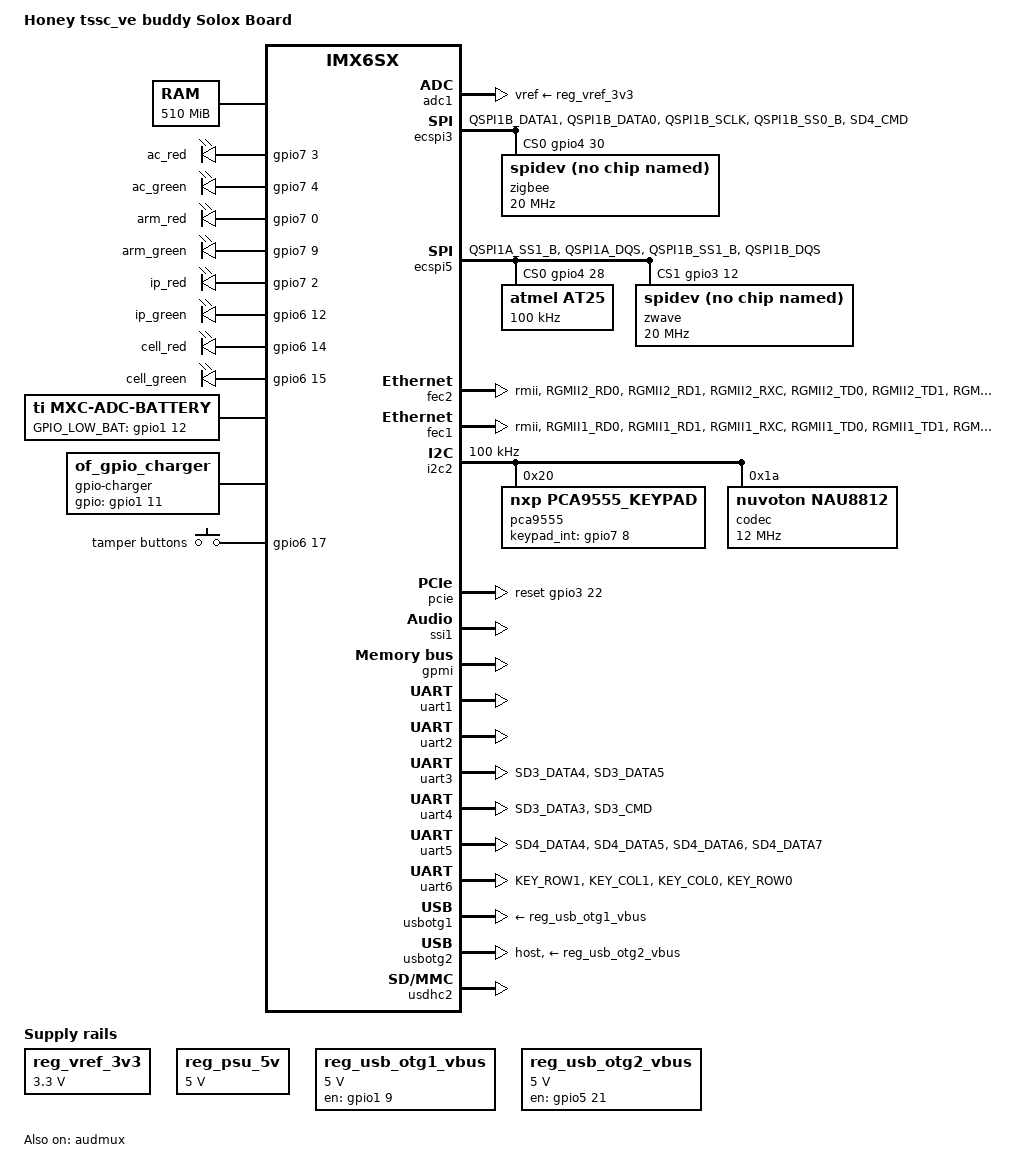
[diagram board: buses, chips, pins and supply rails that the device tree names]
/*
 * Copyright (C) 2014 Freescale Semiconductor, Inc.
 *
 * This program is free software; you can redistribute it and/or modify
 * it under the terms of the GNU General Public License version 2 as
 * published by the Free Software Foundation.
 */

/dts-v1/;

#include <dt-bindings/gpio/gpio.h>
#include "imx6sx.dtsi"

/ {
	model = "Honey tssc_ve buddy Solox Board";
	compatible = "fsl,imx6sx-sdb", "fsl,imx6sx";
	
	memory {
		reg = <0x80000000 0x1FE00000>;
	};

    leds {
        compatible = "gpio-leds";

        ac-red {
            label = "ac_red";
            gpios = <&gpio7 3 0>;
        };

        ac-green {
            label = "ac_green";
            gpios = <&gpio7 4 0>;
        };

        arm-red {
            label = "arm_red";
            gpios = <&gpio7 0 0>;
        };

        arm-green {
            label = "arm_green";
            gpios = <&gpio7 9 0>;
        };

        ip-red {
            label = "ip_red";
            gpios = <&gpio7 2 0>;
        };

        ip-green {
            label = "ip_green";
            gpios = <&gpio6 12 0>;
        };

        cell-red {
            label = "cell_red";
            gpios = <&gpio6 14 0>;
        };

        cell-green {
            label = "cell_green";
            gpios = <&gpio6 15 0>;
        };
    
    };

	regulators {
		compatible = "simple-bus";

		reg_vref_3v3: regulator@0 {
			compatible = "regulator-fixed";
			regulator-name = "vref-3v3";
			regulator-min-microvolt = <3300000>;
			regulator-max-microvolt = <3300000>;
		};

		reg_psu_5v: psu_5v0 {
			compatible = "regulator-fixed";
			regulator-name = "PSU-5V0";
			regulator-min-microvolt = <5000000>;
			regulator-max-microvolt = <5000000>;
			regulator-boot-on;
		};

		reg_usb_otg1_vbus: usb_otg1_vbus {
			compatible = "regulator-fixed";
			regulator-name = "usb_otg1_vbus";
			regulator-min-microvolt = <5000000>;
			regulator-max-microvolt = <5000000>;
			gpio = <&gpio1 9 0>;
			enable-active-high;
		};
		
        reg_usb_otg2_vbus: usb_otg2_vbus {
			compatible = "regulator-fixed";
			regulator-name = "usb_otg2_vbus";
			regulator-min-microvolt = <5000000>;
			regulator-max-microvolt = <5000000>;
            gpio = <&gpio5 21 0>;
			enable-active-high;
		};

	};

		vgen4_reg: vgen4 {
			regulator-min-microvolt = <1800000>;
			regulator-max-microvolt = <3300000>;
			regulator-always-on;
		};
		vgen3_reg: vgen3 {
			regulator-min-microvolt = <1800000>;
			regulator-max-microvolt = <3300000>;
			regulator-always-on;
		};

    sound {
        compatible = "fsl,imx-audio-nau8812";
        model = "nau8812-audio";
        ssi-controller = <&ssi1>;
        audio-codec = <&codec>;
        audio-routing =
            "MIC_IN", "Mic Jack",
            "Mic Jack", "Mic Bias",
            "Headphone Jack", "HP_OUT";
        mux-int-port = <1>;
        mux-ext-port = <3>;
    };
/*
	sound {
		compatible = "fsl,imx6q-sabresd-wm8962",
			   "fsl,imx-audio-wm8962";
		model = "wm8962-audio";
		cpu-dai = <&ssi2>;
		audio-codec = <&codec>;
		audio-routing =
			"Headphone Jack", "HPOUTL",
			"Headphone Jack", "HPOUTR",
			"Ext Spk", "SPKOUTL",
			"Ext Spk", "SPKOUTR",
			"AMIC", "MICBIAS",
			"IN3R", "AMIC";
		mux-int-port = <2>;
		mux-ext-port = <6>;
		hp-det-gpios = <&gpio1 17 1>;
	};

	sound-spdif {
		compatible = "fsl,imx-audio-spdif",
			   "fsl,imx6sx-sdb-spdif";
		model = "imx-spdif";
		spdif-controller = <&spdif>;
		spdif-out;
	};

*/
    mxc-adc-battery{
		compatible = "ti,mxc-adc-battery";
        GPIO_LOW_BAT = <&gpio1 12 0>;
        enable_over_temp = <0>;
        low_bat_active_low = <1>;
        wakeup = <0>;
        debounce_interval = <500>;
        adc_id = <1>;
        adc_ch = <0>;
        volt_mult = <500000>;
        status = "okay";
     };

    gpio-charger {
        compatible = "of_gpio_charger";
        gpio = <&gpio1 11 0>;
        gpio_active_low = <1>;
        charger_name = "AC";
        debounce_interval = <10000>;
        wakeup = <1>;
        status = "okay";
    };

    gpio-key {
        compatible = "gpio-keys";
        tamper {
            label = "tamper buttons";
            gpios = <&gpio6 17 0>;
            linux,code = <103>;
            gpio-key,wakeup;
            debounce_interval = <500>;
        };
    };
};

&adc1 {
	vref-supply = <&reg_vref_3v3>;
    adc_dev_id = <1>;
    status = "okay";
};

&ecspi3{
	fsl,spi-num-chipselects = <2>;
	cs-gpios = <&gpio4 30 0>,
            <&gpio6 13 0>;

    bus-id = <3>;
    pinctrl-names = "default";
	pinctrl-0 = <&pinctrl_ecspi3_1 &pinctrl_ecspi3_cs_1>;
    status = "okay";



    zigbee: zigbee@0x0{
    
		compatible = "rohm,dh2228fv";
		bus-num = <3>;
//chip-select = <0>;
        spi-max-frequency = <20000000>;
		reg = <0>;
    };

};

&ecspi5{
	fsl,spi-num-chipselects = <2>;
	cs-gpios = <&gpio4 28 0>,<&gpio3 12 0>;  
    bus-id = <1>;

    pinctrl-names = "default";
	pinctrl-0 = <&pinctrl_ecspi5_1 &pinctrl_ecspi5_cs_1>;
    status = "okay";
    
at25: at25@0 {
        compatible = "atmel,at25", "st,m95256";
        spi-max-frequency = <100000>;
        //spi-cpha;
        //spi-cpol;
		reg = <0>;
        pagesize = <64>;
        size = <32768>;
        address-width = <16>;
    };
    zwave: zwave@1{
		compatible = "rohm,dh2228fv";
		bus-num = <1>;
        spi-max-frequency = <20000000>;
		reg = <1>;
    };

};


&audmux {
	pinctrl-names = "default";
	pinctrl-0 = <&pinctrl_audmux_4>;
	status = "okay";
};

&fec2 {
	pinctrl-names = "default";
	pinctrl-0 = <&pinctrl_enet2_2 &pinctrl_enet2_clkout_1>;
	phy-mode = "rmii";
	phy-id = <0>;
    phy-reset-duration =<20>;
    mac-address = [00 1F 55 11 C8 6a];
    phy-reset-gpios = <&gpio5 23 1>; 
	fsl,num_tx_queues=<3>;
	fsl,num_rx_queues=<3>;
	status = "okay";
};

&fec1 {
	pinctrl-names = "default";
	pinctrl-0 = <&pinctrl_enet1_2 &pinctrl_enet1_clkout_2>;
	phy-mode = "rmii";
	phy-id = <0>;
    phy-reset-gpios = <&gpio5 11 1>; 
	phy-reset-duration =<20>;
    mac-address = [00 1F 55 11 C8 69];
    fsl,num_tx_queues=<3>;
	fsl,num_rx_queues=<3>;
	status = "okay";
};


&gpc {
	fsl,cpu_pupscr_sw2iso = <0xf>;
	fsl,cpu_pupscr_sw = <0xf>;
	fsl,cpu_pdnscr_iso2sw = <0x1>;
	fsl,cpu_pdnscr_iso = <0x1>;
	fsl,wdog-reset = <1>; /* watchdog select of reset source */
};



&i2c2 {
        clock-frequency = <100000>;
        pinctrl-names = "default";
        pinctrl-0 = <&pinctrl_i2c2_1>;
        status = "okay";

        pca9555: pca9555@20 {
	    	compatible ="nxp,pca9555_keypad";
            keypad_int=<&gpio7 8 0>;
			debounce_time = <100>;
            reg = <0x20>;
            status = "okay";
        };

        codec: nau8812@1a {
            compatible = "nuvoton,nau8812";
            reg = <0x1a>;
		    clocks = <&clks IMX6SX_CLK_AUDIO>;
            clock-frequency = <12000000>;
    };

        
        
/*
    codec: wm8962@1a {
		compatible = "wlf,wm8962";
		reg = <0x1a>;
		clocks = <&clks IMX6SX_CLK_AUDIO>;
		DCVDD-supply = <&vgen4_reg>;
		DBVDD-supply = <&vgen4_reg>;
		AVDD-supply = <&vgen4_reg>;
		CPVDD-supply = <&vgen4_reg>;
		MICVDD-supply = <&vgen3_reg>;
		PLLVDD-supply = <&vgen4_reg>;
		SPKVDD1-supply = <&reg_psu_5v>;
		SPKVDD2-supply = <&reg_psu_5v>;
		amic-mono;
	};

*/




};


&iomuxc {
	pinctrl-names = "default";
	pinctrl-0 = <&pinctrl_hog>;

	hog {
		pinctrl_hog: hoggrp {
			fsl,pins = <
				MX6SX_PAD_ENET2_COL__GPIO2_IO_6 0x80000000
				MX6SX_PAD_QSPI1A_DATA0__GPIO4_IO_16 0x80000000
				MX6SX_PAD_QSPI1A_DATA3__GPIO4_IO_19 0x80000000
				MX6SX_PAD_SD1_DATA0__GPIO6_IO_2 0x17059
			//	MX6SX_PAD_QSPI1B_DATA1__GPIO4_IO_25 0x17059
				MX6SX_PAD_QSPI1B_DATA2__GPIO4_IO_26 0x17059
				MX6SX_PAD_QSPI1B_DATA3__GPIO4_IO_27 0x17059
				MX6SX_PAD_CSI_DATA03__GPIO1_IO_17 0x17059
				MX6SX_PAD_CSI_DATA04__GPIO1_IO_18 0x17059
				MX6SX_PAD_CSI_DATA05__GPIO1_IO_19 0x17059
				MX6SX_PAD_SD1_DATA3__GPIO6_IO_5 0xb000
                MX6SX_PAD_GPIO1_IO11__GPIO1_IO_11 0x17059         

                MX6SX_PAD_LCD1_DATA21__GPIO3_IO_22         0x17059              
                MX6SX_PAD_LCD1_DATA22__GPIO3_IO_23         0x17059               
                MX6SX_PAD_SD3_DATA6__GPIO7_IO_8                     0x17059  
                MX6SX_PAD_LCD1_DATA11__GPIO3_IO_12         0x80000000    
                MX6SX_PAD_RGMII2_TD3__GPIO5_IO_21          0x80000000                    
            >;
		};
	};
	
    uart3 {
		pinctrl_uart3_1: uart3grp-1 {
			fsl,pins = <
				MX6SX_PAD_SD3_DATA4__UART3_RX 0x1b0b1
				MX6SX_PAD_SD3_DATA5__UART3_TX 0x1b0b1
			>;
		};
	};
    
    uart4 {
		pinctrl_uart4_1: uart4grp-1 {
			fsl,pins = <
				MX6SX_PAD_SD3_DATA3__UART4_RX 0x1b0b1
				MX6SX_PAD_SD3_CMD__UART4_TX 0x1b0b1
			>;
		};
	};

	uart5 {
		pinctrl_uart5_2: uart5grp-2 {
			fsl,pins = <
				MX6SX_PAD_SD4_DATA4__UART5_RX   0x1b0b1
				MX6SX_PAD_SD4_DATA5__UART5_TX   0x1b0b1
				MX6SX_PAD_SD4_DATA6__UART5_RTS_B 0x1b0b1
				MX6SX_PAD_SD4_DATA7__UART5_CTS_B 0x1b0b1
			>;
		};
	};

	uart6 {
		pinctrl_uart6_1: uart6grp-1 {
			fsl,pins = <
				MX6SX_PAD_KEY_ROW1__UART6_RX 0x1b0b1
				MX6SX_PAD_KEY_COL1__UART6_TX 0x1b0b1
				MX6SX_PAD_KEY_COL0__UART6_RTS_B 0x1b0b1
				MX6SX_PAD_KEY_ROW0__UART6_CTS_B 0x1b0b1
			>;
		};
	};

	enet1 {
		pinctrl_enet1_2: enet1grp-2 {
			fsl,pins = <
				MX6SX_PAD_RGMII1_RD0__ENET1_RX_DATA_0   0xb099
				MX6SX_PAD_RGMII1_RD1__ENET1_RX_DATA_1   0xb099
                MX6SX_PAD_RGMII1_RXC__ENET1_RX_ER       0xb099
				MX6SX_PAD_RGMII1_TD0__ENET1_TX_DATA_0   0xb099 
				MX6SX_PAD_RGMII1_TD1__ENET1_TX_DATA_1   0xb099
				MX6SX_PAD_RGMII1_TX_CTL__ENET1_TX_EN    0xb099
                MX6SX_PAD_ENET1_CRS__GPIO2_IO_1         0x17059                  
				MX6SX_PAD_ENET1_MDIO__ENET1_MDIO        0xa089 
				MX6SX_PAD_ENET1_MDC__ENET1_MDC          0xa089
                MX6SX_PAD_RGMII1_TXC__GPIO5_IO_11       0xb099   /*output nRst*/
                MX6SX_PAD_RGMII1_RX_CTL__ENET1_RX_EN    0xb099
                >;
		};

		pinctrl_enet1_clkout_2: enet1_clkoutgrp-2 {
			fsl,pins = <
                MX6SX_PAD_ENET1_TX_CLK__ENET1_REF_CLK1  0x11 /* 50M*/
			>;
		};
	};

	enet2 {
		pinctrl_enet2_2: enet2grp-2 {
			fsl,pins = <
				MX6SX_PAD_RGMII2_RD0__ENET2_RX_DATA_0   0xb099
				MX6SX_PAD_RGMII2_RD1__ENET2_RX_DATA_1   0xb099
                MX6SX_PAD_RGMII2_RXC__ENET2_RX_ER       0x3081
				MX6SX_PAD_RGMII2_TD0__ENET2_TX_DATA_0   0xb099
				MX6SX_PAD_RGMII2_TD1__ENET2_TX_DATA_1   0xb099
				MX6SX_PAD_RGMII2_TX_CTL__ENET2_TX_EN    0xb099
                MX6SX_PAD_RGMII2_TXC__GPIO5_IO_23       0x17059 /*output nRst*/
                MX6SX_PAD_KEY_ROW4__ENET2_MDIO          0xa0b1
                MX6SX_PAD_KEY_COL4__ENET2_MDC           0xa0b1
                MX6SX_PAD_RGMII2_RX_CTL__ENET2_RX_EN    0xb099
                MX6SX_PAD_ENET2_CRS__GPIO2_IO_7         0xb099
                >;
		};
		pinctrl_enet2_clkout_1: enet2_clkoutgrp-2 {
			fsl,pins = <
                MX6SX_PAD_ENET2_TX_CLK__ENET2_REF_CLK2 0x11 /* 50M*/
			>;
		};
	};
	
    qspi2 {
		pinctrl_qspi2_2: qspi2grp_2 {
			fsl,pins = <

                MX6SX_PAD_QSPI1A_DATA0__QSPI1_A_DATA_0     0x70f1
                MX6SX_PAD_QSPI1A_DATA1__QSPI1_A_DATA_1     0x70f1
                MX6SX_PAD_QSPI1A_DATA2__QSPI1_A_DATA_2     0x70f1
                MX6SX_PAD_QSPI1A_DATA3__QSPI1_A_DATA_3     0x70f1
                MX6SX_PAD_QSPI1A_SCLK__QSPI1_A_SCLK        0x70f1
                MX6SX_PAD_QSPI1A_SS0_B__QSPI1_A_SS0_B      0x70f1
			>;
		};
	};
	
    usbotg1 {
		pinctrl_usbotg1_4: usbotg1grp-4 {
			fsl,pins = <
    			MX6SX_PAD_GPIO1_IO08__USB_OTG1_OC 0x17059
                MX6SX_PAD_GPIO1_IO09__USB_OTG1_PWR 0x17059
                MX6SX_PAD_GPIO1_IO10__ANATOP_OTG1_ID 0x17059
			>;
		};
    };
	
    audmux {
		pinctrl_audmux_4: audmuxgrp-4 {
			fsl,pins = <
                MX6SX_PAD_LCD1_RESET__AUDMUX_AUD3_RXD   0x130B0 
                MX6SX_PAD_LCD1_ENABLE__AUDMUX_AUD3_TXC  0x130B0
                MX6SX_PAD_LCD1_HSYNC__AUDMUX_AUD3_TXD   0x130B0 
                MX6SX_PAD_LCD1_VSYNC__AUDMUX_AUD3_TXFS  0x130B0   
                MX6SX_PAD_SD4_RESET_B__AUDMUX_MCLK      0x130B0 
                >;
		};
    };

	ecspi3 {
		pinctrl_ecspi3_cs_1: ecspi3_cs_grp-1 {
			fsl,pins = <
             //   MX6SX_PAD_QSPI1B_SS0_B__ECSPI3_SS0          0x100b1                     
               // MX6SX_PAD_SD4_CMD__ECSPI3_SS1               0x100b1              
                MX6SX_PAD_QSPI1B_SS0_B__GPIO4_IO_30          0x80000000                     
                MX6SX_PAD_SD4_CMD__GPIO6_IO_13               0x80000000              
			>;
		};

		pinctrl_ecspi3_1: ecspi3grp-1 {
			fsl,pins = <
                MX6SX_PAD_QSPI1B_DATA1__ECSPI3_MISO                0x100b1       
                MX6SX_PAD_QSPI1B_DATA0__ECSPI3_MOSI                0x100b1       
                MX6SX_PAD_QSPI1B_SCLK__ECSPI3_SCLK                 0x11       
			>;
		};
	};

	ecspi5 {
		pinctrl_ecspi5_cs_1: ecspi5_cs_grp-1 {
            fsl,pins = <
           //     MX6SX_PAD_QSPI1B_DQS__ECSPI5_SS0                    0x100b1      
                MX6SX_PAD_QSPI1B_DQS__GPIO4_IO_28                         0x80000000
			>;
		};

		pinctrl_ecspi5_1: ecspi5grp-1 {
			fsl,pins = <
                MX6SX_PAD_QSPI1A_SS1_B__ECSPI5_MISO              0x100b1         
                MX6SX_PAD_QSPI1A_DQS__ECSPI5_MOSI                0x100b1         
                MX6SX_PAD_QSPI1B_SS1_B__ECSPI5_SCLK              0x11         
			>;
		};
	};


};

&pcie {
	//power-on-gpio = <&gpio2 0 0>;
	reset-gpio = <&gpio3 22 0>;
	status = "okay";
};

&spdif {
	pinctrl-names = "default";
	pinctrl-0 = <&pinctrl_spdif_2>;
	status = "disabled";
};

&ssi1 {
    status = "okay";
};

&gpmi {
	pinctrl-names = "default";
	pinctrl-0 = <&pinctrl_gpmi_nand_1>;
	status = "okay";
	nand-on-flash-bbt;
};


&uart1 {
	pinctrl-names = "default";
	pinctrl-0 = <&pinctrl_uart1_1>;
	status = "okay";
};

&uart2 {
	pinctrl-names = "default";
	pinctrl-0 = <&pinctrl_uart2_1>;
	status = "okay";
};

&uart3 {
	pinctrl-names = "default";
	pinctrl-0 = <&pinctrl_uart3_1>;
	status = "okay";
};

&uart4 {
	pinctrl-names = "default";
	pinctrl-0 = <&pinctrl_uart4_1>;
	status = "okay";
};

&uart5 { /* for RF6 */
	pinctrl-names = "default";
	pinctrl-0 = <&pinctrl_uart5_2>;
	fsl,uart-has-rtscts;
	status = "okay";
};

&uart6 { /* for ZigBee */
	pinctrl-names = "default";
	pinctrl-0 = <&pinctrl_uart6_1>;
	fsl,uart-has-rtscts;
	status = "okay";
};

&usbotg1 {
	vbus-supply = <&reg_usb_otg1_vbus>;
	pinctrl-names = "default";
	pinctrl-0 = <&pinctrl_usbotg1_1>;
	imx6-usb-charger-detection;
	status = "okay";
};

&usbotg2 {
	vbus-supply = <&reg_usb_otg2_vbus>;
	dr_mode = "host";
	status = "okay";
};

&usdhc2 {
	pinctrl-names = "default";
	pinctrl-0 = <&pinctrl_usdhc2_1>;
	no-1-8-v;
 //   cd-gpios = <&gpio3 18 0>;
 //   wp-gpios = <&gpio5 3 1>;
    status = "okay";
};

&qspi2 {
	pinctrl-names = "default";
	pinctrl-0 = <&pinctrl_qspi2_2>;
	status = "disabled";

	flash0: n25q256a@0 {
		#address-cells = <1>;
		#size-cells = <1>;
		compatible = "micron,n25q256a";
		spi-max-frequency = <29000000>;
		reg = <0>;
	};

	flash1: n25q256a@1 {
		#address-cells = <1>;
		#size-cells = <1>;
		compatible = "micron,n25q256a";
		spi-max-frequency = <29000000>;
		reg = <1>;
	};
};

